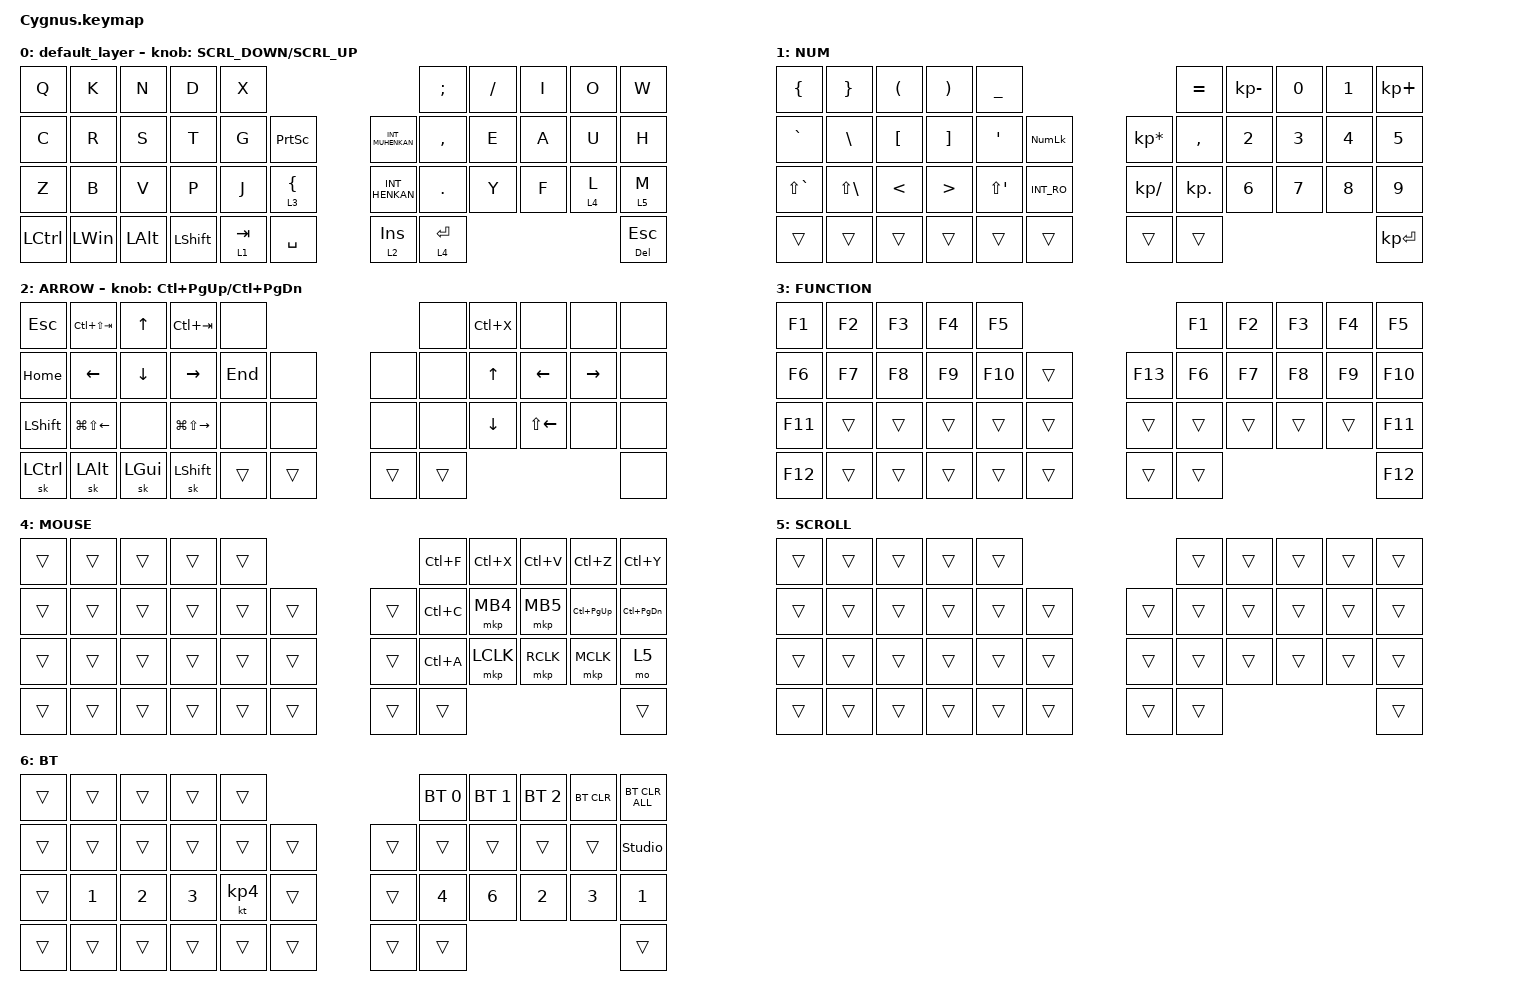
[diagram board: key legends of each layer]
#define ZMK_POINTING_DEFAULT_SCRL_VAL 120    // default: 10

#include <behaviors.dtsi>
#include <dt-bindings/zmk/bt.h>
#include <dt-bindings/zmk/keys.h>
#include <dt-bindings/zmk/pointing.h>

#define MOUSE 4
#define SCROLL 5
#define NUM 6

&mt {
    flavor = "balanced";
    quick-tap-ms = <0>;
};

/ {
    combos {
        compatible = "zmk,combos";

        BT {
            bindings = <&mo 2>;
            key-positions = <16 28 42>;
        };
    };

    macros {
        to_layer_0: to_layer_0 {
            compatible = "zmk,behavior-macro-one-param";
            #binding-cells = <1>;
            bindings = <&to 0 &macro_param_1to1 &kp MACRO_PLACEHOLDER>;
            label = "TO_LAYER_0";
        };
    };

    behaviors {
        lt_to_layer_0: lt_to_layer_0 {
            compatible = "zmk,behavior-hold-tap";
            label = "LAYER_TAP_TO_0";
            bindings = <&mo>, <&to_layer_0>;

            #binding-cells = <2>;
            tapping-term-ms = <200>;
        };

        ROTATE: ROTATE {
            compatible = "zmk,behavior-sensor-rotate-var";
            label = "ROTATE";
            #sensor-binding-cells = <2>;
            bindings = <&msc>, <&msc>;

            tap-ms = <20>;
        };
    };

    keymap {
        compatible = "zmk,keymap";

        default_layer {
            bindings = <
&kp Q      &kp K         &kp N         &kp D      &kp X                                             &kp SEMI   &kp FSLH  &kp I  &kp O    &kp W
&kp C      &kp R         &kp S         &kp T      &kp G      &kp PRINTSCREEN      &kp INT_MUHENKAN  &kp COMMA  &kp E     &kp A  &kp U    &kp H
&kp Z      &kp B         &kp V         &kp P      &kp J      &lt 3 LBRC           &kp INT_HENKAN    &kp DOT    &kp Y     &kp F  &lt 4 L  &lt 5 M
&kp LCTRL  &kp LEFT_WIN  &kp LEFT_ALT  &kp LSHFT  &lt 1 TAB  &kp SPACE            &lt 2 INS         &lt 4 RET                            &mt DEL ESC
            >;

            sensor-bindings = <&ROTATE SCRL_DOWN SCRL_UP>;
        };

        NUM {
            bindings = <
&kp LEFT_BRACE  &kp RIGHT_BRACE  &kp LEFT_PARENTHESIS  &kp RIGHT_PARENTHESIS  &kp UNDER                                      &kp EQUAL   &kp KP_MINUS  &kp N0  &kp N1  &kp KP_PLUS
&kp GRAVE       &kp BSLH         &kp LEFT_BRACKET      &kp RIGHT_BRACKET      &kp APOS      &kp KP_NUM      &kp KP_MULTIPLY  &kp COMMA   &kp N2        &kp N3  &kp N4  &kp N5
&kp LS(GRAVE)   &kp LS(BSLH)     &kp LESS_THAN         &kp GREATER_THAN       &kp LS(APOS)  &kp INT_RO      &kp KP_DIVIDE    &kp KP_DOT  &kp N6        &kp N7  &kp N8  &kp N9
&trans          &trans           &trans                &trans                 &trans        &trans          &trans           &trans                                    &kp KP_ENTER
            >;
        };

        ARROW {
            bindings = <
&kp ESCAPE      &kp LC(LS(TAB))         &kp UP_ARROW    &kp LC(TAB)              &none                        &none   &kp LC(X)  &none         &none      &none
&kp HOME        &kp LEFT_ARROW          &kp DOWN_ARROW  &kp RIGHT_ARROW          &kp END  &none       &none   &none   &kp UP     &kp LEFT      &kp RIGHT  &none
&kp LEFT_SHIFT  &kp LG(LS(LEFT_ARROW))  &none           &kp LG(LS(RIGHT_ARROW))  &none    &none       &none   &none   &kp DOWN   &kp LS(LEFT)  &none      &none
&sk LCTRL       &sk LALT                &sk LGUI        &sk LSHIFT               &trans   &trans      &trans  &trans                                      &none
            >;

            sensor-bindings = <&inc_dec_kp LC(PAGE_UP) LC(PAGE_DOWN)>;
        };

        FUNCTION {
            bindings = <
&kp F1   &kp F2  &kp F3  &kp F4  &kp F5                        &kp F1  &kp F2  &kp F3  &kp F4  &kp F5
&kp F6   &kp F7  &kp F8  &kp F9  &kp F10  &trans      &kp F13  &kp F6  &kp F7  &kp F8  &kp F9  &kp F10
&kp F11  &trans  &trans  &trans  &trans   &trans      &trans   &trans  &trans  &trans  &trans  &kp F11
&kp F12  &trans  &trans  &trans  &trans   &trans      &trans   &trans                          &kp F12
            >;
        };

        MOUSE {
            bindings = <
&trans  &trans  &trans  &trans  &trans                      &kp LC(F)  &kp LC(X)  &kp LC(V)  &kp LC(Z)        &kp LC(Y)
&trans  &trans  &trans  &trans  &trans  &trans      &trans  &kp LC(C)  &mkp MB4   &mkp MB5   &kp LC(PAGE_UP)  &kp LC(PAGE_DOWN)
&trans  &trans  &trans  &trans  &trans  &trans      &trans  &kp LC(A)  &mkp LCLK  &mkp RCLK  &mkp MCLK        &mo 5
&trans  &trans  &trans  &trans  &trans  &trans      &trans  &trans                                            &trans
            >;
        };

        SCROLL {
            bindings = <
&trans  &trans  &trans  &trans  &trans                      &trans  &trans  &trans  &trans  &trans
&trans  &trans  &trans  &trans  &trans  &trans      &trans  &trans  &trans  &trans  &trans  &trans
&trans  &trans  &trans  &trans  &trans  &trans      &trans  &trans  &trans  &trans  &trans  &trans
&trans  &trans  &trans  &trans  &trans  &trans      &trans  &trans                          &trans
            >;
        };

        BT {
            bindings = <
&trans  &trans        &trans        &trans        &trans                         &bt BT_SEL 0  &bt BT_SEL 1  &bt BT_SEL 2  &bt BT_CLR  &bt BT_CLR_ALL
&trans  &trans        &trans        &trans        &trans     &trans      &trans  &trans        &trans        &trans        &trans      &studio_unlock
&trans  &kp NUMBER_1  &kp NUMBER_2  &kp NUMBER_3  &kt KP_N4  &trans      &trans  &kp N4        &kp N6        &kp N2        &kp N3      &kp N1
&trans  &trans        &trans        &trans        &trans     &trans      &trans  &trans                                                &trans
            >;
        };
    };
};
